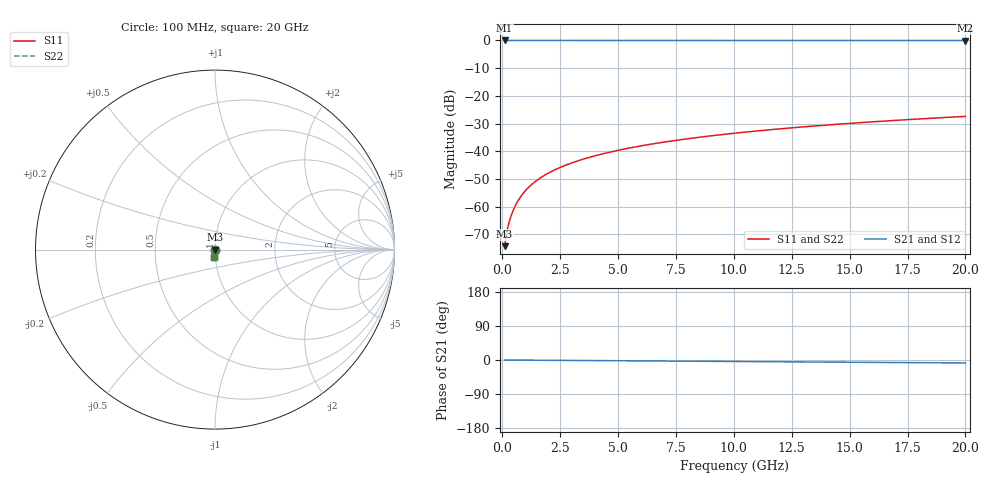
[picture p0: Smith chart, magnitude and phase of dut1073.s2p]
! Touchstone file exported from HFSS 2026.1.0
!  File:  C:/ffzhzh/LocalFiles/Ansys_Project_Files/temp_train_TSV_1073_1783189945_51560.aedt
!  Generated:  02:33:47 AM Jul  5, 2026
!  Design:  TSV
!  Project:  temp_train_TSV_1073_1783189945_51560
! Variables:
!  h_bsmrdl = 2um
!  h_ox = 20um
!  h_rdl = 5um
!  h_sub = 77.02um
!  h_tmrdl = 5um
!  h_tsv = 77.02um
!  h_via = 3um
!  l_bsmrdl = 300um
!  l_sub = 424.96um
!  l_tmrdl = 200um
!  m_sub = 200um
!  pitch = 37.75um
!  r_tsv = 12.48um
!  s_tmrdl = 10um
!  w_bsmrdl = 18um
!  w_sub = 500um
!  w_tmrdl = 12um
!  x_tsv_center1 = 206um
!  x_tsv_center2 = 524um
!  x_tsv_center3 = 736um
!  x_tsv_center4 = 1054um
!  x_tsv_center5 = 1266um
!  x_tsv_center6 = 1584um
# GHz S MA R 50.000000
! Terminal data exported
! Port[1] = TSV1_1_T1
! Port[2] = TSV1_1_T2
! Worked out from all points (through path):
!   200 points, 100 MHz to 20 GHz, reference 50 ohm
!   highest |S21| = 0.00 dB at 100 MHz (marker M1); lowest = 0.0 dB at 20 GHz (marker M2)
!   group delay of S21, straight-line fit = 1.09 ps
!   lowest |S11| = -74.3 dB at 100 MHz (marker M3), VSWR 1.00, Z = 50 - j0.0168 ohm
!   |S11| at or under -10 dB: start of sweep to end of sweep
!   |S22| runs from -74.3 to -27.4 dB; largest |S21 - S12| = 2e-15
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0.1  0.0001931 -60.6  0.9999 -0.0  0.9999 -0.0  0.0001931 -60.6
! Gamma 0 0 0 0
! Port Impedance 50 0 50 0
0.2  0.0003572 -72.2  0.9999 -0.1  0.9999 -0.1  0.0003572 -72.2
0.3  0.0005347 -76.0  0.9999 -0.1  0.9999 -0.1  0.0005347 -76.0
0.4  0.0007213 -77.7  0.9998 -0.2  0.9998 -0.2  0.0007213 -77.7
0.5  0.0009152 -78.8  0.9998 -0.2  0.9998 -0.2  0.0009152 -78.8
0.7  0.001318 -80.3  0.9998 -0.3  0.9998 -0.3  0.001318 -80.3
0.8  0.001524 -80.9  0.9997 -0.3  0.9997 -0.3  0.001524 -80.9
1  0.001942 -82.0  0.9997 -0.4  0.9997 -0.4  0.001942 -82.0
1.2  0.002362 -82.9  0.9997 -0.5  0.9997 -0.5  0.002362 -82.9
1.4  0.002782 -83.7  0.9997 -0.6  0.9997 -0.6  0.002782 -83.7
1.7  0.003413 -84.6  0.9996 -0.7  0.9996 -0.7  0.003413 -84.6
2  0.004044 -85.4  0.9996 -0.8  0.9996 -0.8  0.004044 -85.4
2.7  0.005516 -86.6  0.9996 -1.1  0.9996 -1.1  0.005516 -86.6
3.5  0.007202 -87.5  0.9995 -1.4  0.9995 -1.4  0.007202 -87.5
4.2  0.008683 -88.1  0.9994 -1.7  0.9994 -1.7  0.008683 -88.1
5  0.01038 -88.8  0.9994 -2.0  0.9994 -2.0  0.01038 -88.8
6.8  0.01422 -89.9  0.9992 -2.7  0.9992 -2.7  0.01422 -89.9
8.3  0.01744 -90.8  0.9991 -3.3  0.9991 -3.3  0.01744 -90.8
10.1  0.0213 -91.7  0.9989 -4.0  0.9989 -4.0  0.0213 -91.7
13.4  0.02838 -93.3  0.9986 -5.3  0.9986 -5.3  0.02838 -93.3
16.7  0.03547 -94.8  0.9983 -6.5  0.9983 -6.5  0.03547 -94.8
20  0.04256 -96.2  0.9979 -7.8  0.9979 -7.8  0.04256 -96.2
